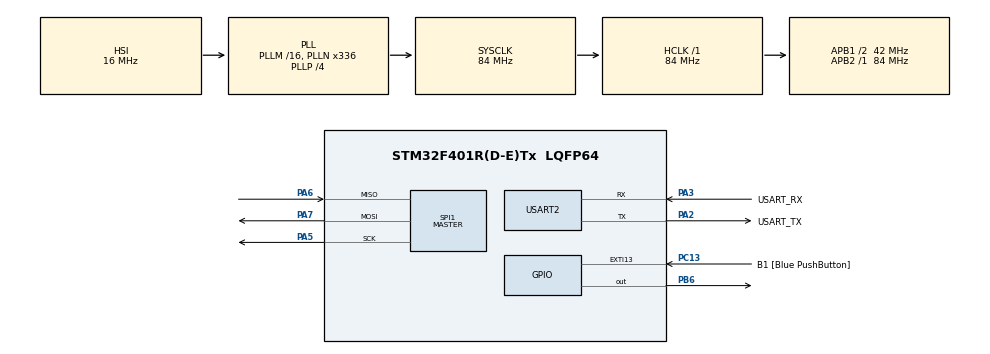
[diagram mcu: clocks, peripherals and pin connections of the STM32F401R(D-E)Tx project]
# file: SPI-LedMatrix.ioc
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Mcu.Family=STM32F4
Mcu.Name=STM32F401R(D-E)Tx
Mcu.Package=LQFP64
NVIC.PriorityGroup=NVIC_PRIORITYGROUP_1
NVIC.TIM1_TRG_COM_TIM11_IRQn=true\:1\:0\:true\:false\:true\:true\:true
PA13.GPIO_Label=TMS
PA13.Mode=Serial_Wire
PA13.Signal=SYS_JTMS-SWDIO
PA14.GPIO_Label=TCK
PA14.Mode=Serial_Wire
PA14.Signal=SYS_JTCK-SWCLK
PA2.GPIO_Label=USART_TX
PA2.GPIO_Mode=GPIO_MODE_AF_PP
PA2.GPIO_PuPd=GPIO_NOPULL
PA2.GPIO_Speed=GPIO_SPEED_FREQ_LOW
PA2.Mode=Asynchronous
PA2.Signal=USART2_TX
PA3.GPIO_Label=USART_RX
PA3.GPIO_Mode=GPIO_MODE_AF_PP
PA3.GPIO_PuPd=GPIO_NOPULL
PA3.GPIO_Speed=GPIO_SPEED_FREQ_LOW
PA3.Mode=Asynchronous
PA3.Signal=USART2_RX
PA5.Mode=Full_Duplex_Master
PA5.Signal=SPI1_SCK
PA6.Mode=Full_Duplex_Master
PA6.Signal=SPI1_MISO
PA7.Mode=Full_Duplex_Master
PA7.Signal=SPI1_MOSI
PB3.GPIO_Label=SWO
PB3.Signal=SYS_JTDO-SWO
PB6.Signal=GPIO_Output
PC13-ANTI_TAMP.GPIO_Label=B1 [Blue PushButton]
PC13-ANTI_TAMP.GPIO_ModeDefaultEXTI=GPIO_MODE_IT_FALLING
PC13-ANTI_TAMP.GPIO_PuPd=GPIO_NOPULL
PC13-ANTI_TAMP.Signal=GPXTI13
PC14-OSC32_IN.Mode=LSE-External-Oscillator
PC14-OSC32_IN.Signal=RCC_OSC32_IN
PC15-OSC32_OUT.Mode=LSE-External-Oscillator
PC15-OSC32_OUT.Signal=RCC_OSC32_OUT
PH0\ -\ OSC_IN.Mode=HSE-External-Clock-Source
PH0\ -\ OSC_IN.Signal=RCC_OSC_IN
PH1\ -\ OSC_OUT.Mode=HSE-External-Clock-Source
PH1\ -\ OSC_OUT.Signal=RCC_OSC_OUT
ProjectManager.HeapSize=0x200
ProjectManager.StackSize=0x400
ProjectManager.TargetToolchain=STM32CubeIDE
RCC.48MHZClocksFreq_Value=48000000
RCC.AHBFreq_Value=84000000
RCC.APB1CLKDivider=RCC_HCLK_DIV2
RCC.APB1Freq_Value=42000000
RCC.APB1TimFreq_Value=84000000
RCC.APB2Freq_Value=84000000
RCC.APB2TimFreq_Value=84000000
RCC.CortexFreq_Value=84000000
RCC.HCLKFreq_Value=84000000
RCC.HSE_VALUE=8000000
RCC.HSI_VALUE=16000000
RCC.PLLN=336
RCC.PLLP=RCC_PLLP_DIV4
RCC.PLLQ=7
RCC.SYSCLKFreq_VALUE=84000000
RCC.SYSCLKSource=RCC_SYSCLKSOURCE_PLLCLK
RCC.VCOOutputFreq_Value=336000000
SPI1.BaudRatePrescaler=SPI_BAUDRATEPRESCALER_8
SPI1.CLKPhase=SPI_PHASE_1EDGE
SPI1.CLKPolarity=SPI_POLARITY_LOW
SPI1.Direction=SPI_DIRECTION_2LINES
SPI1.Mode=SPI_MODE_MASTER
SPI1.VirtualType=VM_MASTER
TIM11.Period=1000-1
TIM11.Prescaler=330-1
USART2.VirtualMode=VM_ASYNC
VP_TIM11_VS_ClockSourceINT.Mode=Enable_Timer
board=NUCLEO-F401RE

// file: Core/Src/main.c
/* USER CODE BEGIN Header */
/**
 ******************************************************************************
 * @file           : main.c
 * @brief          : Main program body
 ******************************************************************************
 * @attention
 *
 * <h2><center>&copy; Copyright (c) 2021 STMicroelectronics.
 * All rights reserved.</center></h2>
 *
 * This software component is licensed by ST under BSD 3-Clause license,
 * the "License"; You may not use this file except in compliance with the
 * License. You may obtain a copy of the License at:
 *                        opensource.org/licenses/BSD-3-Clause
 *
 ******************************************************************************
 */
/* USER CODE END Header */
#include "main.h"

/* USER CODE BEGIN Includes */
#include <math.h>
/* USER CODE END Includes */

SPI_HandleTypeDef hspi1;

TIM_HandleTypeDef htim11;

UART_HandleTypeDef huart2;

/* USER CODE BEGIN PV */
uint8_t nCol = 0;

uint8_t Symbol1[5] = {
		0b0000001,
		0b0000101,
		0b0010011,
		0b1010000,
		0b0110000
};

uint8_t letter_A[5] = {
		0b0011111,
		0b0100100,
		0b1000100,
		0b0100100,
		0b0011111
};

uint8_t letter_B[5] = {
		0b0110110, // 16
		0b1001001, // 8
		0b1001001, // 4
		0b1001001, // 2
		0b1111111  // 1
};

uint8_t letter_C[5] = {
		0b1000001,
		0b1000001,
		0b1000001,
		0b1000001,
		0b1111111
};

uint8_t letter_I[5] = {
		0b0000000,
		0b0000000,
		0b0000000,
		0b0000000,
		0b1111111
};

uint8_t letter_O[5] = {
		0b1111111,
		0b1000001,
		0b1000001,
		0b1000001,
		0b1111111
};

uint8_t letter_S[5] = {
		0b1000110,
		0b1001001,
		0b1001001,
		0b1001001,
		0b0110001
};

uint8_t letterToShow[5][2];
/* USER CODE END PV */

void SystemClock_Config(void);
static void MX_GPIO_Init(void);
static void MX_USART2_UART_Init(void);
static void MX_SPI1_Init(void);
static void MX_TIM11_Init(void);
/* USER CODE BEGIN PFP */
static void encodeLetterToShow(uint8_t x[5]) {
	for (int i = 0; i < 5; i++) {
		letterToShow[i][0] = x[i];
		letterToShow[i][1] = (uint8_t) pow(2, i);
	}
}
/* USER CODE END PFP */

int main(void) {

	/* MCU Configuration--------------------------------------------------------*/

	/* Reset of all peripherals, Initializes the Flash interface and the Systick. */
	HAL_Init();

	/* Configure the system clock */
	SystemClock_Config();

	/* Initialize all configured peripherals */
	MX_GPIO_Init();
	MX_USART2_UART_Init();
	MX_SPI1_Init();
	MX_TIM11_Init();
	/* USER CODE BEGIN 2 */
	encodeLetterToShow(letter_S);
	HAL_TIM_Base_Start_IT(&htim11);
	/* USER CODE END 2 */

	/* Infinite loop */
	while (1) {

	}
}

void SystemClock_Config(void) {
	RCC_OscInitTypeDef RCC_OscInitStruct = { 0 };
	RCC_ClkInitTypeDef RCC_ClkInitStruct = { 0 };

	/** Configure the main internal regulator output voltage
	 */
	__HAL_RCC_PWR_CLK_ENABLE();
	__HAL_PWR_VOLTAGESCALING_CONFIG(PWR_REGULATOR_VOLTAGE_SCALE2);
	/** Initializes the RCC Oscillators according to the specified parameters
	 * in the RCC_OscInitTypeDef structure.
	 */
	RCC_OscInitStruct.OscillatorType = RCC_OSCILLATORTYPE_HSI;
	RCC_OscInitStruct.HSIState = RCC_HSI_ON;
	RCC_OscInitStruct.HSICalibrationValue = RCC_HSICALIBRATION_DEFAULT;
	RCC_OscInitStruct.PLL.PLLState = RCC_PLL_ON;
	RCC_OscInitStruct.PLL.PLLSource = RCC_PLLSOURCE_HSI;
	RCC_OscInitStruct.PLL.PLLM = 16;
	RCC_OscInitStruct.PLL.PLLN = 336;
	RCC_OscInitStruct.PLL.PLLP = RCC_PLLP_DIV4;
	RCC_OscInitStruct.PLL.PLLQ = 7;
	if (HAL_RCC_OscConfig(&RCC_OscInitStruct) != HAL_OK) {
		Error_Handler();
	}
	/** Initializes the CPU, AHB and APB buses clocks
	 */
	RCC_ClkInitStruct.ClockType = RCC_CLOCKTYPE_HCLK | RCC_CLOCKTYPE_SYSCLK
			| RCC_CLOCKTYPE_PCLK1 | RCC_CLOCKTYPE_PCLK2;
	RCC_ClkInitStruct.SYSCLKSource = RCC_SYSCLKSOURCE_PLLCLK;
	RCC_ClkInitStruct.AHBCLKDivider = RCC_SYSCLK_DIV1;
	RCC_ClkInitStruct.APB1CLKDivider = RCC_HCLK_DIV2;
	RCC_ClkInitStruct.APB2CLKDivider = RCC_HCLK_DIV1;

	if (HAL_RCC_ClockConfig(&RCC_ClkInitStruct, FLASH_LATENCY_2) != HAL_OK) {
		Error_Handler();
	}
}

static void MX_SPI1_Init(void) {

	/* SPI1 parameter configuration*/
	hspi1.Instance = SPI1;
	hspi1.Init.Mode = SPI_MODE_MASTER;
	hspi1.Init.Direction = SPI_DIRECTION_2LINES;
	hspi1.Init.DataSize = SPI_DATASIZE_8BIT;
	hspi1.Init.CLKPolarity = SPI_POLARITY_LOW;
	hspi1.Init.CLKPhase = SPI_PHASE_1EDGE;
	hspi1.Init.NSS = SPI_NSS_SOFT;
	hspi1.Init.BaudRatePrescaler = SPI_BAUDRATEPRESCALER_8;
	hspi1.Init.FirstBit = SPI_FIRSTBIT_MSB;
	hspi1.Init.TIMode = SPI_TIMODE_DISABLE;
	hspi1.Init.CRCCalculation = SPI_CRCCALCULATION_DISABLE;
	hspi1.Init.CRCPolynomial = 10;
	if (HAL_SPI_Init(&hspi1) != HAL_OK) {
		Error_Handler();
	}

}

static void MX_TIM11_Init(void) {

	htim11.Instance = TIM11;
	htim11.Init.Prescaler = 330 - 1;
	htim11.Init.CounterMode = TIM_COUNTERMODE_UP;
	htim11.Init.Period = 1000 - 1;
	htim11.Init.ClockDivision = TIM_CLOCKDIVISION_DIV1;
	htim11.Init.AutoReloadPreload = TIM_AUTORELOAD_PRELOAD_DISABLE;
	if (HAL_TIM_Base_Init(&htim11) != HAL_OK) {
		Error_Handler();
	}

}

static void MX_USART2_UART_Init(void) {

	huart2.Instance = USART2;
	huart2.Init.BaudRate = 115200;
	huart2.Init.WordLength = UART_WORDLENGTH_8B;
	huart2.Init.StopBits = UART_STOPBITS_1;
	huart2.Init.Parity = UART_PARITY_NONE;
	huart2.Init.Mode = UART_MODE_TX_RX;
	huart2.Init.HwFlowCtl = UART_HWCONTROL_NONE;
	huart2.Init.OverSampling = UART_OVERSAMPLING_16;
	if (HAL_UART_Init(&huart2) != HAL_OK) {
		Error_Handler();
	}

}

static void MX_GPIO_Init(void) {
	GPIO_InitTypeDef GPIO_InitStruct = { 0 };

	/* GPIO Ports Clock Enable */
	__HAL_RCC_GPIOC_CLK_ENABLE();
	__HAL_RCC_GPIOH_CLK_ENABLE();
	__HAL_RCC_GPIOA_CLK_ENABLE();
	__HAL_RCC_GPIOB_CLK_ENABLE();

	/*Configure GPIO pin Output Level */
	HAL_GPIO_WritePin(GPIOB, GPIO_PIN_6, GPIO_PIN_RESET);

	/*Configure GPIO pin : B1_Pin */
	GPIO_InitStruct.Pin = B1_Pin;
	GPIO_InitStruct.Mode = GPIO_MODE_IT_FALLING;
	GPIO_InitStruct.Pull = GPIO_NOPULL;
	HAL_GPIO_Init(B1_GPIO_Port, &GPIO_InitStruct);

	/*Configure GPIO pin : PB6 */
	GPIO_InitStruct.Pin = GPIO_PIN_6;
	GPIO_InitStruct.Mode = GPIO_MODE_OUTPUT_PP;
	GPIO_InitStruct.Pull = GPIO_NOPULL;
	GPIO_InitStruct.Speed = GPIO_SPEED_FREQ_LOW;
	HAL_GPIO_Init(GPIOB, &GPIO_InitStruct);

}

/* USER CODE BEGIN 4 */
void HAL_TIM_PeriodElapsedCallback(TIM_HandleTypeDef *htim) {
	HAL_SPI_Transmit(&hspi1, letterToShow[nCol], 2, 100);
	HAL_GPIO_WritePin(GPIOB, GPIO_PIN_6, GPIO_PIN_SET);
	HAL_GPIO_WritePin(GPIOB, GPIO_PIN_6, GPIO_PIN_RESET);
	nCol = (nCol + 1) % 5;
}
/* USER CODE END 4 */

void Error_Handler(void) {
	__disable_irq();
	while (1) {
	}
}

/************************ (C) COPYRIGHT STMicroelectronics *****END OF FILE****/
